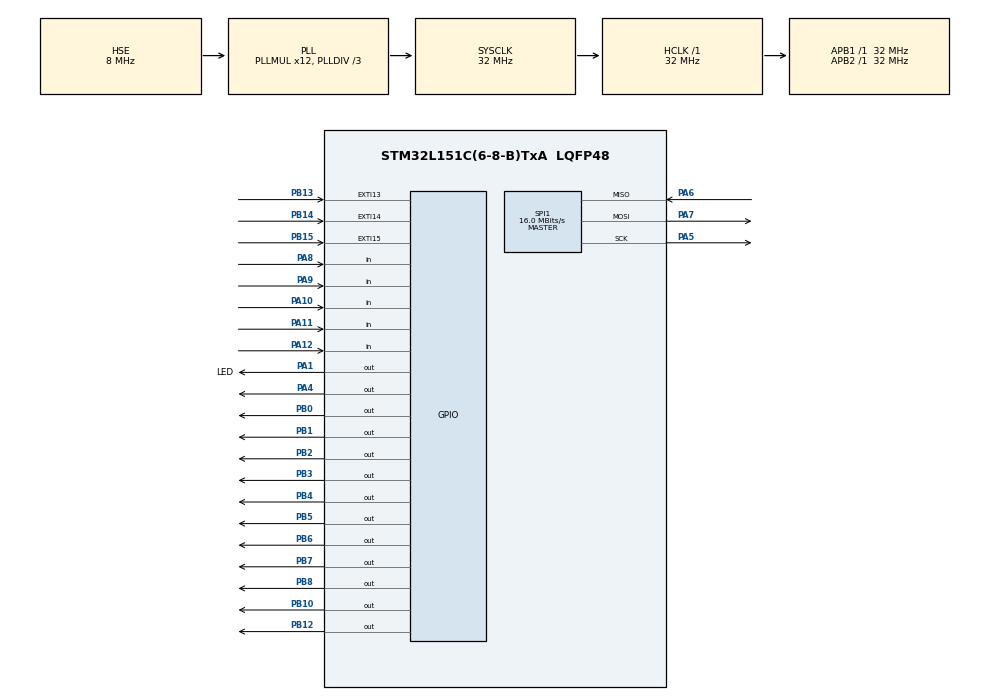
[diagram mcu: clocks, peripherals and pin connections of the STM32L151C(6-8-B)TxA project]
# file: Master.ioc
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Mcu.Family=STM32L1
Mcu.Name=STM32L151C(6-8-B)TxA
Mcu.Package=LQFP48
NVIC.EXTI15_10_IRQn=true\:1\:0\:true\:false\:true\:true\:true
NVIC.EXTI9_5_IRQn=true\:1\:0\:true\:false\:true\:true\:true
NVIC.PriorityGroup=NVIC_PRIORITYGROUP_4
NVIC.TIM11_IRQn=true\:0\:0\:true\:false\:true\:true\:true
PA1.GPIO_Label=LED
PA1.Signal=GPIO_Output
PA10.GPIO_ModeDefaultEXTI=GPIO_MODE_IT_RISING_FALLING
PA10.GPIO_PuPd=GPIO_PULLUP
PA10.Signal=SharedStack_PA10
PA10.Stacked=true
PA11.GPIO_ModeDefaultEXTI=GPIO_MODE_IT_RISING_FALLING
PA11.GPIO_PuPd=GPIO_PULLUP
PA11.Signal=SharedStack_PA11
PA11.Stacked=true
PA12.GPIO_ModeDefaultEXTI=GPIO_MODE_IT_RISING_FALLING
PA12.GPIO_PuPd=GPIO_PULLUP
PA12.Signal=SharedStack_PA12
PA12.Stacked=true
PA13.Mode=Serial_Wire
PA13.Signal=SYS_JTMS-SWDIO
PA14.Mode=Serial_Wire
PA14.Signal=SYS_JTCK-SWCLK
PA4.GPIO_Speed=GPIO_SPEED_FREQ_VERY_HIGH
PA4.Signal=GPIO_Output
PA5.Mode=Full_Duplex_Master
PA5.Signal=SPI1_SCK
PA6.Mode=Full_Duplex_Master
PA6.Signal=SPI1_MISO
PA7.Mode=Full_Duplex_Master
PA7.Signal=SPI1_MOSI
PA8.GPIO_ModeDefaultEXTI=GPIO_MODE_IT_RISING_FALLING
PA8.GPIO_PuPd=GPIO_PULLUP
PA8.Signal=SharedStack_PA8
PA8.Stacked=true
PA9.GPIO_ModeDefaultEXTI=GPIO_MODE_IT_RISING_FALLING
PA9.GPIO_PuPd=GPIO_PULLUP
PA9.Signal=SharedStack_PA9
PA9.Stacked=true
PB0.GPIO_Speed=GPIO_SPEED_FREQ_VERY_HIGH
PB0.Signal=GPIO_Output
PB1.GPIO_Speed=GPIO_SPEED_FREQ_VERY_HIGH
PB1.PinState=GPIO_PIN_RESET
PB1.Signal=GPIO_Output
PB10.GPIO_Speed=GPIO_SPEED_FREQ_VERY_HIGH
PB10.PinState=GPIO_PIN_RESET
PB10.Signal=GPIO_Output
PB12.GPIO_Speed=GPIO_SPEED_FREQ_VERY_HIGH
PB12.Signal=GPIO_Output
PB13.GPIO_ModeDefaultEXTI=GPIO_MODE_IT_RISING
PB13.GPIO_PuPd=GPIO_PULLDOWN
PB13.Signal=GPXTI13
PB14.GPIO_PuPd=GPIO_PULLDOWN
PB14.Signal=GPXTI14
PB15.GPIO_PuPd=GPIO_PULLDOWN
PB15.Signal=GPXTI15
PB2.GPIO_Speed=GPIO_SPEED_FREQ_VERY_HIGH
PB2.PinState=GPIO_PIN_RESET
PB2.Signal=GPIO_Output
PB3.GPIO_Speed=GPIO_SPEED_FREQ_VERY_HIGH
PB3.Signal=GPIO_Output
PB4.GPIO_Speed=GPIO_SPEED_FREQ_VERY_HIGH
PB4.Signal=GPIO_Output
PB5.GPIO_Speed=GPIO_SPEED_FREQ_VERY_HIGH
PB5.Signal=GPIO_Output
PB6.GPIO_Speed=GPIO_SPEED_FREQ_VERY_HIGH
PB6.Signal=GPIO_Output
PB7.GPIO_Speed=GPIO_SPEED_FREQ_VERY_HIGH
PB7.Signal=GPIO_Output
PB8.GPIO_Speed=GPIO_SPEED_FREQ_VERY_HIGH
PB8.Signal=GPIO_Output
PC14-OSC32_IN.Mode=LSE-External-Oscillator
PC14-OSC32_IN.Signal=RCC_OSC32_IN
PC15-OSC32_OUT.Mode=LSE-External-Oscillator
PC15-OSC32_OUT.Signal=RCC_OSC32_OUT
PH0-OSC_IN.Mode=HSE-External-Oscillator
PH0-OSC_IN.Signal=RCC_OSC_IN
PH1-OSC_OUT.Mode=HSE-External-Oscillator
PH1-OSC_OUT.Signal=RCC_OSC_OUT
ProjectManager.HeapSize=0x200
ProjectManager.StackSize=0x400
ProjectManager.TargetToolchain=MDK-ARM V5.27
RCC.48MHZClocksFreq_Value=48000000
RCC.AHBFreq_Value=32000000
RCC.APB1Freq_Value=32000000
RCC.APB1TimFreq_Value=32000000
RCC.APB2Freq_Value=32000000
RCC.APB2TimFreq_Value=32000000
RCC.HCLKFreq_Value=32000000
RCC.HSE_VALUE=8000000
RCC.HSI_VALUE=16000000
RCC.MSI_VALUE=2097000
RCC.PLLDIV=RCC_PLL_DIV3
RCC.PLLMUL=RCC_PLL_MUL12
RCC.PLLSourceVirtual=RCC_PLLSOURCE_HSE
RCC.SYSCLKFreq_VALUE=32000000
RCC.SYSCLKSource=RCC_SYSCLKSOURCE_PLLCLK
RCC.VCOOutputFreq_Value=96000000
SH.SharedStack_PA10.0=GPIO_Input+0
SH.SharedStack_PA10.1=GPIO_EXTI10
SH.SharedStack_PA11.0=GPIO_Input+0
SH.SharedStack_PA11.1=GPIO_EXTI11
SH.SharedStack_PA12.0=GPIO_Input+0
SH.SharedStack_PA12.1=GPIO_EXTI12
SH.SharedStack_PA8.0=GPIO_Input+0
SH.SharedStack_PA8.1=GPIO_EXTI8
SH.SharedStack_PA9.0=GPIO_Input+0
SH.SharedStack_PA9.1=GPIO_EXTI9
SPI1.CalculateBaudRate=16.0 MBits/s
SPI1.Direction=SPI_DIRECTION_2LINES
SPI1.Mode=SPI_MODE_MASTER
SPI1.VirtualType=VM_MASTER
TIM11.AutoReloadPreload=TIM_AUTORELOAD_PRELOAD_ENABLE
TIM11.Period=1000
TIM11.Prescaler=32-1
VP_TIM11_VS_ClockSourceINT.Mode=Internal
board=custom

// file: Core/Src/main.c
/* USER CODE BEGIN Header */
/**
  ******************************************************************************
  * @file           : main.c
  * @brief          : Main program body
  ******************************************************************************
  * @attention
  *
  * <h2><center>&copy; Copyright (c) 2020 STMicroelectronics.
  * All rights reserved.</center></h2>
  *
  * This software component is licensed by ST under BSD 3-Clause license,
  * the "License"; You may not use this file except in compliance with the
  * License. You may obtain a copy of the License at:
  *                        opensource.org/licenses/BSD-3-Clause
  *
  ******************************************************************************
  */
/* USER CODE END Header */

#include "main.h"

/* USER CODE BEGIN Includes */
#include <stdio.h>
#include <stdint.h>
#include <stdbool.h>
#include <string.h>
#include "lcd.h"
#include "gui.h"
#include "SX127X_Driver.h"
/* USER CODE END Includes */

/* USER CODE BEGIN PM */
enum DemoInternalStates
{
  APP_RNG = 0, // nothing to do (or wait a radio interrupt)
  RX_DONE,
  TX_DONE,
  TX_ING,
  APP_IDLE,
};
/* USER CODE END PM */

SPI_HandleTypeDef hspi1;

TIM_HandleTypeDef htim11;

/* USER CODE BEGIN PV */
uint8_t TXbuffer[8] = {0};
uint8_t RXbuffer[8] = {0};
uint8_t colorcnt=0;
uint32_t Fre[5] = {470800000, 494600000, 510000000, 868000000, 915000000};
int16_t SNR = 0;
int16_t RSSI = 0;
int16_t ENV_RSSI = 0;

uint8_t communication_states;
/* USER CODE END PV */

void SystemClock_Config(void);
static void MX_GPIO_Init(void);
static void MX_SPI1_Init(void);
static void MX_TIM11_Init(void);
/* USER CODE BEGIN PFP */
void MX_TIM11_Init_Ms(uint16_t time);
/* USER CODE END PFP */

int main(void)
{

  /* MCU Configuration--------------------------------------------------------*/

  /* Reset of all peripherals, Initializes the Flash interface and the Systick. */
  HAL_Init();

  /* Configure the system clock */
  SystemClock_Config();

  /* Initialize all configured peripherals */
  MX_GPIO_Init();
  MX_SPI1_Init();
  MX_TIM11_Init();
  /* USER CODE BEGIN 2 */
  G_LoRaConfig.LoRa_Freq = Fre[0];      //中心频率470MHz
  G_LoRaConfig.BandWidth = BW125KHZ;    //BW = 125KHz  BW125KHZ
  G_LoRaConfig.SpreadingFactor = SF09;  //SF = 9
  G_LoRaConfig.CodingRate = CR_4_6;     //CR = 4/6
  G_LoRaConfig.PowerCfig = 15;          //19±1dBm
  G_LoRaConfig.MaxPowerOn = true;       //最大功率开启
  G_LoRaConfig.CRCON = true;            //CRC校验开启
  G_LoRaConfig.ExplicitHeaderOn = true; //Header开启
  G_LoRaConfig.PayloadLength = 8;       //数据包长度

  LCD_Init();
  while(1)
  {
    if(SX127X_Lora_init() == NORMAL)      //无线模块初始化
    {
      break;
    }
    Show_Str(0, 240, WHITE, BLUE, "ERROR", 16, 1);
  }

  Show_Str(192, 224, BLACK, WHITE, "MASTER", 16, 0);
  Show_Str(0, 40, BLACK, WHITE, "RH:  0.0, TEMP:  0.0", 16, 0);
  Show_Str(0, 56, BLACK, WHITE, "G:   0, R:   0, B:   0", 16, 0);
  Show_Str(0, 72, BLACK, WHITE, "SNR:   0, RSSI:   0", 16, 0);
  Show_Str(0, 88, BLACK, WHITE, "ENV_RSSI: 0", 16, 0);
  Show_Str(0, 104, BLACK, WHITE, "Lock Status:", 16, 0);
//  HAL_TIM_Base_Stop_IT(&htim11);
//  MX_TIM11_Init_Ms(5000);
//  HAL_TIM_Base_Start_IT(&htim11);//定时2s开启
  DIO0_EnableInterrupt();
  SX127X_StartRx();
  /* USER CODE END 2 */

  /* Infinite loop */
  /* USER CODE BEGIN WHILE */
  while (1)
  {
    switch(communication_states)
    {
      case APP_IDLE:
        break;

      case TX_ING:
        HAL_Delay(50);
        DIO0_EnableInterrupt();
        SX127X_TxPacket(TXbuffer);
        communication_states = APP_IDLE;
        break;

      case TX_DONE:
        SX127X_StandbyMode();
        DIO0_EnableInterrupt();
        SX127X_StartRx();
        communication_states = APP_IDLE;
        break;

      case RX_DONE:
        DIO0_DisableInterrupt();
        SX127X_RxPacket(RXbuffer);
        RSSI = G_LoRaPara.Packet_RSSI;
        SNR = G_LoRaPara.Packet_SNR;
        ENV_RSSI = G_LoRaPara.Current_RSSI;
        HAL_Delay(50);
        if(SNR<0)
        {
          LCD_ShowChar(32, 72, BLACK, WHITE, '-', 16, 0);
          SNR=-SNR;
        }
        else
        {
          LCD_ShowChar(32, 72, BLACK, WHITE, ' ', 16, 0);
        }
        if(RSSI<0)
        {
          LCD_ShowChar(120, 72, BLACK, WHITE, '-', 16, 0);
          RSSI=-RSSI;
        }
        else
        {
          LCD_ShowChar(120, 72, BLACK, WHITE, ' ', 16, 0);
        }
        if(ENV_RSSI<0)
        {
          LCD_ShowChar(72, 88, BLACK, WHITE, '-', 16, 0);
          ENV_RSSI=-ENV_RSSI;
        }
        else
        {
          LCD_ShowChar(72, 88, BLACK, WHITE, ' ', 16, 0);
        }
        LCD_ShowNum(40, 72, SNR, 3, 16);
        LCD_ShowNum(128, 72, RSSI, 3, 16);
        LCD_ShowNum(80, 88, ENV_RSSI, 3, 16);

        if(RXbuffer[0]==0x01)
        {
          LCD_ShowNum(32, 40, RXbuffer[1], 2, 16);
          LCD_ShowNum(56, 40, RXbuffer[2], 1, 16);
          LCD_ShowNum(128, 40, RXbuffer[3], 2, 16);
          LCD_ShowNum(152, 40, RXbuffer[4], 1, 16);
        }
        else
        {
          if(RXbuffer[0]==0x02)
          {
          }
          else
          {
            if(RXbuffer[0]==0x03)
            {
              if(RXbuffer[1]==0x77)
              {
                Show_Str(104, 104, BLACK, WHITE, "Closed", 16, 0);
              }
              else
              {
                Show_Str(104, 104, BLACK, WHITE, "Open  ", 16, 0);
              }
            }
          }
        }

        communication_states = TX_DONE;
        break;

      default:
        break;
    }
    /* USER CODE END WHILE */

  }
}

void SystemClock_Config(void)
{
  RCC_OscInitTypeDef RCC_OscInitStruct = {0};
  RCC_ClkInitTypeDef RCC_ClkInitStruct = {0};

  /** Configure the main internal regulator output voltage
  */
  __HAL_PWR_VOLTAGESCALING_CONFIG(PWR_REGULATOR_VOLTAGE_SCALE1);
  /** Initializes the CPU, AHB and APB busses clocks
  */
  RCC_OscInitStruct.OscillatorType = RCC_OSCILLATORTYPE_HSE;
  RCC_OscInitStruct.HSEState = RCC_HSE_ON;
  RCC_OscInitStruct.PLL.PLLState = RCC_PLL_ON;
  RCC_OscInitStruct.PLL.PLLSource = RCC_PLLSOURCE_HSE;
  RCC_OscInitStruct.PLL.PLLMUL = RCC_PLL_MUL12;
  RCC_OscInitStruct.PLL.PLLDIV = RCC_PLL_DIV3;
  if (HAL_RCC_OscConfig(&RCC_OscInitStruct) != HAL_OK)
  {
    Error_Handler();
  }
  /** Initializes the CPU, AHB and APB busses clocks
  */
  RCC_ClkInitStruct.ClockType = RCC_CLOCKTYPE_HCLK|RCC_CLOCKTYPE_SYSCLK
                              |RCC_CLOCKTYPE_PCLK1|RCC_CLOCKTYPE_PCLK2;
  RCC_ClkInitStruct.SYSCLKSource = RCC_SYSCLKSOURCE_PLLCLK;
  RCC_ClkInitStruct.AHBCLKDivider = RCC_SYSCLK_DIV1;
  RCC_ClkInitStruct.APB1CLKDivider = RCC_HCLK_DIV1;
  RCC_ClkInitStruct.APB2CLKDivider = RCC_HCLK_DIV1;

  if (HAL_RCC_ClockConfig(&RCC_ClkInitStruct, FLASH_LATENCY_1) != HAL_OK)
  {
    Error_Handler();
  }
}

static void MX_SPI1_Init(void)
{

  /* SPI1 parameter configuration*/
  hspi1.Instance = SPI1;
  hspi1.Init.Mode = SPI_MODE_MASTER;
  hspi1.Init.Direction = SPI_DIRECTION_2LINES;
  hspi1.Init.DataSize = SPI_DATASIZE_8BIT;
  hspi1.Init.CLKPolarity = SPI_POLARITY_LOW;
  hspi1.Init.CLKPhase = SPI_PHASE_1EDGE;
  hspi1.Init.NSS = SPI_NSS_SOFT;
  hspi1.Init.BaudRatePrescaler = SPI_BAUDRATEPRESCALER_2;
  hspi1.Init.FirstBit = SPI_FIRSTBIT_MSB;
  hspi1.Init.TIMode = SPI_TIMODE_DISABLE;
  hspi1.Init.CRCCalculation = SPI_CRCCALCULATION_DISABLE;
  hspi1.Init.CRCPolynomial = 10;
  if (HAL_SPI_Init(&hspi1) != HAL_OK)
  {
    Error_Handler();
  }

}

static void MX_TIM11_Init(void)
{

  TIM_ClockConfigTypeDef sClockSourceConfig = {0};

  htim11.Instance = TIM11;
  htim11.Init.Prescaler = 32-1;
  htim11.Init.CounterMode = TIM_COUNTERMODE_UP;
  htim11.Init.Period = 1000;
  htim11.Init.ClockDivision = TIM_CLOCKDIVISION_DIV1;
  htim11.Init.AutoReloadPreload = TIM_AUTORELOAD_PRELOAD_ENABLE;
  if (HAL_TIM_Base_Init(&htim11) != HAL_OK)
  {
    Error_Handler();
  }
  sClockSourceConfig.ClockSource = TIM_CLOCKSOURCE_INTERNAL;
  if (HAL_TIM_ConfigClockSource(&htim11, &sClockSourceConfig) != HAL_OK)
  {
    Error_Handler();
  }

}

static void MX_GPIO_Init(void)
{
  GPIO_InitTypeDef GPIO_InitStruct = {0};

  /* GPIO Ports Clock Enable */
  __HAL_RCC_GPIOC_CLK_ENABLE();
  __HAL_RCC_GPIOH_CLK_ENABLE();
  __HAL_RCC_GPIOA_CLK_ENABLE();
  __HAL_RCC_GPIOB_CLK_ENABLE();

  /*Configure GPIO pin Output Level */
  HAL_GPIO_WritePin(GPIOA, LED_Pin|GPIO_PIN_4, GPIO_PIN_RESET);

  /*Configure GPIO pin Output Level */
  HAL_GPIO_WritePin(GPIOB, GPIO_PIN_0|GPIO_PIN_1|GPIO_PIN_2|GPIO_PIN_10
                          |GPIO_PIN_12|GPIO_PIN_3|GPIO_PIN_4|GPIO_PIN_5
                          |GPIO_PIN_6|GPIO_PIN_7|GPIO_PIN_8, GPIO_PIN_RESET);

  /*Configure GPIO pin : LED_Pin */
  GPIO_InitStruct.Pin = LED_Pin;
  GPIO_InitStruct.Mode = GPIO_MODE_OUTPUT_PP;
  GPIO_InitStruct.Pull = GPIO_NOPULL;
  GPIO_InitStruct.Speed = GPIO_SPEED_FREQ_LOW;
  HAL_GPIO_Init(LED_GPIO_Port, &GPIO_InitStruct);

  /*Configure GPIO pin : PA4 */
  GPIO_InitStruct.Pin = GPIO_PIN_4;
  GPIO_InitStruct.Mode = GPIO_MODE_OUTPUT_PP;
  GPIO_InitStruct.Pull = GPIO_NOPULL;
  GPIO_InitStruct.Speed = GPIO_SPEED_FREQ_VERY_HIGH;
  HAL_GPIO_Init(GPIOA, &GPIO_InitStruct);

  /*Configure GPIO pins : PB0 PB1 PB2 PB10
                           PB12 PB3 PB4 PB5
                           PB6 PB7 PB8 */
  GPIO_InitStruct.Pin = GPIO_PIN_0|GPIO_PIN_1|GPIO_PIN_2|GPIO_PIN_10
                          |GPIO_PIN_12|GPIO_PIN_3|GPIO_PIN_4|GPIO_PIN_5
                          |GPIO_PIN_6|GPIO_PIN_7|GPIO_PIN_8;
  GPIO_InitStruct.Mode = GPIO_MODE_OUTPUT_PP;
  GPIO_InitStruct.Pull = GPIO_NOPULL;
  GPIO_InitStruct.Speed = GPIO_SPEED_FREQ_VERY_HIGH;
  HAL_GPIO_Init(GPIOB, &GPIO_InitStruct);

  /*Configure GPIO pins : PB13 PB14 PB15 */
  GPIO_InitStruct.Pin = GPIO_PIN_13|GPIO_PIN_14|GPIO_PIN_15;
  GPIO_InitStruct.Mode = GPIO_MODE_IT_RISING;
  GPIO_InitStruct.Pull = GPIO_PULLDOWN;
  HAL_GPIO_Init(GPIOB, &GPIO_InitStruct);

  /*Configure GPIO pins : PA8 PA9 PA10 PA11
                           PA12 */
  GPIO_InitStruct.Pin = GPIO_PIN_8|GPIO_PIN_9|GPIO_PIN_10|GPIO_PIN_11
                          |GPIO_PIN_12;
  GPIO_InitStruct.Mode = GPIO_MODE_IT_RISING_FALLING;
  GPIO_InitStruct.Pull = GPIO_PULLUP;
  HAL_GPIO_Init(GPIOA, &GPIO_InitStruct);

  /* EXTI interrupt init*/
  HAL_NVIC_SetPriority(EXTI9_5_IRQn, 1, 0);
  HAL_NVIC_EnableIRQ(EXTI9_5_IRQn);

  HAL_NVIC_SetPriority(EXTI15_10_IRQn, 1, 0);
  HAL_NVIC_EnableIRQ(EXTI15_10_IRQn);

}

/* USER CODE BEGIN 4 */
void MX_TIM11_Init_Ms(uint16_t time)
{
  TIM_ClockConfigTypeDef sClockSourceConfig;
  TIM_MasterConfigTypeDef sMasterConfig;

  htim11.Instance = TIM11;
  htim11.Init.Prescaler = 32000-1;
  htim11.Init.CounterMode = TIM_COUNTERMODE_UP;
  htim11.Init.Period = time-1;
  htim11.Init.ClockDivision = TIM_CLOCKDIVISION_DIV1;
  if (HAL_TIM_Base_Init(&htim11) != HAL_OK)
  {
    return;
  }

  sClockSourceConfig.ClockSource = TIM_CLOCKSOURCE_INTERNAL;
  if (HAL_TIM_ConfigClockSource(&htim11, &sClockSourceConfig) != HAL_OK)
  {
    return;
  }

  sMasterConfig.MasterOutputTrigger = TIM_TRGO_RESET;
  sMasterConfig.MasterSlaveMode = TIM_MASTERSLAVEMODE_DISABLE;
  if (HAL_TIMEx_MasterConfigSynchronization(&htim11, &sMasterConfig) != HAL_OK)
  {
    return;
  }

}

void HAL_GPIO_EXTI_Callback(uint16_t GPIO_Pin)
{
  if(GPIO_Pin==GPIO_PIN_13||GPIO_Pin==GPIO_PIN_14||GPIO_Pin==GPIO_PIN_15)
  {
    if(DIO0_GetState() == GPIO_PIN_SET)
    {
      uint8_t flag;
      SX127X_Read(REG_LR_IRQFLAGS, &flag);
      SX127X_Write(REG_LR_IRQFLAGS, 0xff); //clear flags
      if(flag & RFLR_IRQFLAGS_TXDONE)
      {
        communication_states = TX_DONE;
      }
      else
      {
        if(flag & RFLR_IRQFLAGS_RXDONE)
        {
          communication_states = RX_DONE;
        }
      }
    }
  }
  if(HAL_GPIO_ReadPin(GPIOA, GPIO_PIN_8)==GPIO_PIN_RESET)
  {
    HAL_Delay(10);
    if(HAL_GPIO_ReadPin(GPIOA, GPIO_PIN_8)==GPIO_PIN_RESET)
    {
      TXbuffer[0]=0x02;
      if(colorcnt==0)
      {
        TXbuffer[1]=0xff;
        TXbuffer[2]=0xff;
        TXbuffer[3]=0xff;
        colorcnt++;
      }
      else
      {
        if(colorcnt==1)
        {
          TXbuffer[1]=0x00;
          TXbuffer[2]=0xff;
          TXbuffer[3]=0x00;
          colorcnt++;
        }
        else
        {
          if(colorcnt==2)
          {
            TXbuffer[1]=0xff;
            TXbuffer[2]=0x00;
            TXbuffer[3]=0x00;
            colorcnt++;
          }
          else
          {
            if(colorcnt==3)
            {
              TXbuffer[1]=0x00;
              TXbuffer[2]=0x00;
              TXbuffer[3]=0xff;
              colorcnt++;
            }
            else
            {
              TXbuffer[1]=0x00;
              TXbuffer[2]=0x00;
              TXbuffer[3]=0x00;
              colorcnt=0;
            }
          }
        }
      }
      LCD_ShowNum(24, 56, TXbuffer[1], 3, 16);
      LCD_ShowNum(88, 56, TXbuffer[2], 3, 16);
      LCD_ShowNum(152, 56, TXbuffer[3], 3, 16);
      communication_states = TX_ING;
    }
  }
  if(HAL_GPIO_ReadPin(GPIOA, GPIO_PIN_9)==GPIO_PIN_RESET)
  {
    HAL_Delay(10);
    if(HAL_GPIO_ReadPin(GPIOA, GPIO_PIN_9)==GPIO_PIN_RESET)
    {
      TXbuffer[0]=0x03;
      TXbuffer[2]=0xff;
      communication_states = TX_ING;
    }
  }
  if(HAL_GPIO_ReadPin(GPIOA, GPIO_PIN_10)==GPIO_PIN_RESET)
  {
    HAL_Delay(10);
    if(HAL_GPIO_ReadPin(GPIOA, GPIO_PIN_10)==GPIO_PIN_RESET)
    {
      TXbuffer[0]=0x01;
      TXbuffer[5]=0xff;
      communication_states = TX_ING;
    }
  }
//  if(GPIO_Pin==GPIO_PIN_11)
//  {
//  }
//  if(GPIO_Pin==GPIO_PIN_12)
//  {
//  }
}

//void HAL_TIM_PeriodElapsedCallback(TIM_HandleTypeDef *htim)
//{
//  communication_states = TX_ING;
//  HAL_GPIO_TogglePin(GPIOA,GPIO_PIN_1);
//}
/* USER CODE END 4 */

void Error_Handler(void)
{
}

/************************ (C) COPYRIGHT STMicroelectronics *****END OF FILE****/
